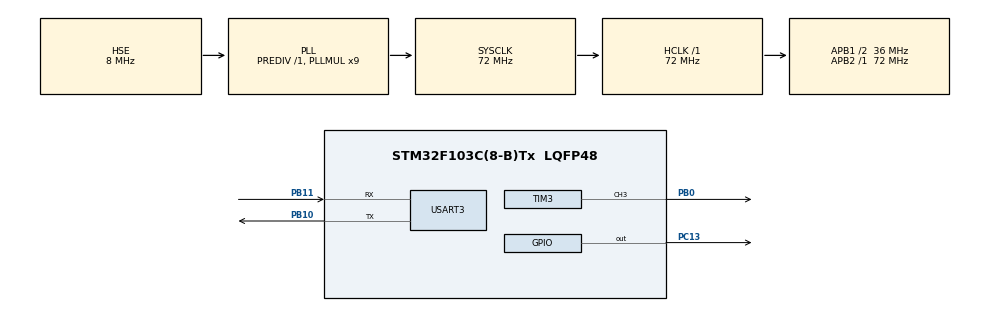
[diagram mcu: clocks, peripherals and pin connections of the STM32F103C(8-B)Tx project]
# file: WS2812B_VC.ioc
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Dma.Request0=TIM3_CH3
Dma.TIM3_CH3.0.Direction=DMA_MEMORY_TO_PERIPH
Dma.TIM3_CH3.0.Instance=DMA1_Channel2
Dma.TIM3_CH3.0.MemDataAlignment=DMA_MDATAALIGN_BYTE
Dma.TIM3_CH3.0.MemInc=DMA_MINC_ENABLE
Dma.TIM3_CH3.0.Mode=DMA_CIRCULAR
Dma.TIM3_CH3.0.PeriphDataAlignment=DMA_PDATAALIGN_HALFWORD
Dma.TIM3_CH3.0.PeriphInc=DMA_PINC_DISABLE
Dma.TIM3_CH3.0.Priority=DMA_PRIORITY_LOW
Mcu.Family=STM32F1
Mcu.Name=STM32F103C(8-B)Tx
Mcu.Package=LQFP48
Mcu.UserConstants=T_PERIOD,90;T0H,26;T1H,65;T_RESET,0
NVIC.DMA1_Channel2_IRQn=true\:0\:0\:false\:false\:true\:false
NVIC.PriorityGroup=NVIC_PRIORITYGROUP_4
NVIC.USART3_IRQn=true\:0\:0\:false\:false\:true\:true
PA13.Mode=Serial_Wire
PA13.Signal=SYS_JTMS-SWDIO
PA14.Mode=Serial_Wire
PA14.Signal=SYS_JTCK-SWCLK
PB0.GPIO_Speed=GPIO_SPEED_FREQ_HIGH
PB0.Signal=S_TIM3_CH3
PB10.Mode=Asynchronous
PB10.Signal=USART3_TX
PB11.Mode=Asynchronous
PB11.Signal=USART3_RX
PC13-TAMPER-RTC.PinState=GPIO_PIN_SET
PC13-TAMPER-RTC.Signal=GPIO_Output
PC14-OSC32_IN.Mode=LSE-External-Oscillator
PC14-OSC32_IN.Signal=RCC_OSC32_IN
PC15-OSC32_OUT.Mode=LSE-External-Oscillator
PC15-OSC32_OUT.Signal=RCC_OSC32_OUT
PD0-OSC_IN.Mode=HSE-External-Oscillator
PD0-OSC_IN.Signal=RCC_OSC_IN
PD1-OSC_OUT.Mode=HSE-External-Oscillator
PD1-OSC_OUT.Signal=RCC_OSC_OUT
ProjectManager.HeapSize=0x200
ProjectManager.StackSize=0x400
ProjectManager.TargetToolchain=SW4STM32
RCC.AHBFreq_Value=72000000
RCC.APB1CLKDivider=RCC_HCLK_DIV2
RCC.APB1Freq_Value=36000000
RCC.APB1TimFreq_Value=72000000
RCC.APB2Freq_Value=72000000
RCC.APB2TimFreq_Value=72000000
RCC.HCLKFreq_Value=72000000
RCC.PLLMUL=RCC_PLL_MUL9
RCC.PLLSourceVirtual=RCC_PLLSOURCE_HSE
RCC.SYSCLKFreq_VALUE=72000000
RCC.SYSCLKSource=RCC_SYSCLKSOURCE_PLLCLK
RCC.USBFreq_Value=72000000
SH.S_TIM3_CH3.0=TIM3_CH3,PWM Generation3 CH3
TIM3.Channel-PWM\ Generation3\ CH3=TIM_CHANNEL_3
TIM3.Period=T_PERIOD-1
USART3.VirtualMode=VM_ASYNC
board=custom

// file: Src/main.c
/* USER CODE BEGIN Header */
/**
  ******************************************************************************
  * @file           : main.c
  * @brief          : Main program body
  ******************************************************************************
  ** This notice applies to any and all portions of this file
  * that are not between comment pairs USER CODE BEGIN and
  * USER CODE END. Other portions of this file, whether
  * inserted by the user or by software development tools
  * are owned by their respective copyright owners.
  *
  * COPYRIGHT(c) 2018 STMicroelectronics
  *
  * Redistribution and use in source and binary forms, with or without modification,
  * are permitted provided that the following conditions are met:
  *   1. Redistributions of source code must retain the above copyright notice,
  *      this list of conditions and the following disclaimer.
  *   2. Redistributions in binary form must reproduce the above copyright notice,
  *      this list of conditions and the following disclaimer in the documentation
  *      and/or other materials provided with the distribution.
  *   3. Neither the name of STMicroelectronics nor the names of its contributors
  *      may be used to endorse or promote products derived from this software
  *      without specific prior written permission.
  *
  * THIS SOFTWARE IS PROVIDED BY THE COPYRIGHT HOLDERS AND CONTRIBUTORS "AS IS"
  * AND ANY EXPRESS OR IMPLIED WARRANTIES, INCLUDING, BUT NOT LIMITED TO, THE
  * IMPLIED WARRANTIES OF MERCHANTABILITY AND FITNESS FOR A PARTICULAR PURPOSE ARE
  * DISCLAIMED. IN NO EVENT SHALL THE COPYRIGHT HOLDER OR CONTRIBUTORS BE LIABLE
  * FOR ANY DIRECT, INDIRECT, INCIDENTAL, SPECIAL, EXEMPLARY, OR CONSEQUENTIAL
  * DAMAGES (INCLUDING, BUT NOT LIMITED TO, PROCUREMENT OF SUBSTITUTE GOODS OR
  * SERVICES; LOSS OF USE, DATA, OR PROFITS; OR BUSINESS INTERRUPTION) HOWEVER
  * CAUSED AND ON ANY THEORY OF LIABILITY, WHETHER IN CONTRACT, STRICT LIABILITY,
  * OR TORT (INCLUDING NEGLIGENCE OR OTHERWISE) ARISING IN ANY WAY OUT OF THE USE
  * OF THIS SOFTWARE, EVEN IF ADVISED OF THE POSSIBILITY OF SUCH DAMAGE.
  *
  ******************************************************************************
  */
/* USER CODE END Header */

#include "main.h"
#include "dma.h"
#include "tim.h"
#include "usart.h"
#include "gpio.h"

/* USER CODE BEGIN Includes */
#include "animations.h"
/* USER CODE END Includes */

/* USER CODE BEGIN PD */
#define WEB_ORDER_SZ	13
/* USER CODE END PD */

void SystemClock_Config(void);

/* USER CODE BEGIN 0 */
uint8_t mode = WEB_ORDER_SZ;
uint8_t uart_buff[4];
/* USER CODE END 0 */

int main(void)
{
  /* USER CODE BEGIN 1 */
  Animation_function sequences[10] = {
	Animation_MarbleTube,
	Animation_Dropdown,
	Animation_RunningLed2,
	Animation_Pulse,
	Animation_Rainbow,
	Animation_DoubleTrain,
	ClearFrame,
	Animation_Snake,
	Animation_Stars,
	Animation_RoundDance
  };

  Animation_function web_order[] = {
	ClearFrame,
	Animation_RunningLed,
	Animation_RunningLed2,
	Animation_Pulse,
	Animation_RunningLine,
	Animation_Train,
	Animation_DoubleTrain,
	Animation_Rainbow,
	Animation_Snake,
	Animation_RoundDance,
	Animation_MarbleTube,
	Animation_Dropdown,
	Animation_Stars,
  };

  /* USER CODE END 1 */

  /* MCU Configuration--------------------------------------------------------*/

  /* Reset of all peripherals, Initializes the Flash interface and the Systick. */
  HAL_Init();

  /* Configure the system clock */
  SystemClock_Config();

  /* Initialize all configured peripherals */
  MX_GPIO_Init();
  MX_DMA_Init();
  MX_TIM3_Init();
  MX_USART3_UART_Init();
  /* USER CODE BEGIN 2 */
  InitBuffers2812B();
  HAL_TIM_PWM_Start_DMA(&htim3, TIM_CHANNEL_3, (uint32_t *)g_dma_double_buffer, DMA_BUFF_LENGTH);

  /* USER CODE END 2 */

  /* Infinite loop */
  /* USER CODE BEGIN WHILE */
  uint8_t i = 0;
  uint8_t last_mode = WEB_ORDER_SZ;
  SetAnimation(sequences[i]);

  while (1)
  {
    CalcNextFrame();
    if (last_mode != mode)
    {
    	last_mode = mode;
    	if (last_mode < WEB_ORDER_SZ) {
    		SetAnimation(web_order[last_mode]);
    	}
    }
    else if (last_mode == WEB_ORDER_SZ)
    {
    	if (isAnimationComplete())
    	{
    	   	i++;
    	   	if (i > 9)
    	   	{
    	   		i = 0;
    	   	}
    	 	SetAnimation(sequences[i]);
    	}
    }

    HAL_UART_Receive_IT(&huart3, uart_buff, 4);
    /* USER CODE END WHILE */

  }
}

void SystemClock_Config(void)
{
  RCC_OscInitTypeDef RCC_OscInitStruct = {0};
  RCC_ClkInitTypeDef RCC_ClkInitStruct = {0};

  /**Initializes the CPU, AHB and APB busses clocks
  */
  RCC_OscInitStruct.OscillatorType = RCC_OSCILLATORTYPE_HSE;
  RCC_OscInitStruct.HSEState = RCC_HSE_ON;
  RCC_OscInitStruct.HSEPredivValue = RCC_HSE_PREDIV_DIV1;
  RCC_OscInitStruct.HSIState = RCC_HSI_ON;
  RCC_OscInitStruct.PLL.PLLState = RCC_PLL_ON;
  RCC_OscInitStruct.PLL.PLLSource = RCC_PLLSOURCE_HSE;
  RCC_OscInitStruct.PLL.PLLMUL = RCC_PLL_MUL9;
  if (HAL_RCC_OscConfig(&RCC_OscInitStruct) != HAL_OK)
  {
    Error_Handler();
  }
  /**Initializes the CPU, AHB and APB busses clocks
  */
  RCC_ClkInitStruct.ClockType = RCC_CLOCKTYPE_HCLK|RCC_CLOCKTYPE_SYSCLK
                              |RCC_CLOCKTYPE_PCLK1|RCC_CLOCKTYPE_PCLK2;
  RCC_ClkInitStruct.SYSCLKSource = RCC_SYSCLKSOURCE_PLLCLK;
  RCC_ClkInitStruct.AHBCLKDivider = RCC_SYSCLK_DIV1;
  RCC_ClkInitStruct.APB1CLKDivider = RCC_HCLK_DIV2;
  RCC_ClkInitStruct.APB2CLKDivider = RCC_HCLK_DIV1;

  if (HAL_RCC_ClockConfig(&RCC_ClkInitStruct, FLASH_LATENCY_2) != HAL_OK)
  {
    Error_Handler();
  }
}

/* USER CODE BEGIN 4 */
void HAL_UART_RxCpltCallback(UART_HandleTypeDef *huart)
{
	if (uart_buff[0] == 0xaa)
	{
		HAL_GPIO_TogglePin(GPIOC, GPIO_PIN_13);
		mode = uart_buff[1];
		if (mode > WEB_ORDER_SZ)
		{
			mode = WEB_ORDER_SZ;
		}
		// продолжаем только если пакет принят правильно.
		HAL_UART_Receive_IT(&huart3, uart_buff, 4);
	}
}
/* USER CODE END 4 */

void Error_Handler(void)
{
}

/************************ (C) COPYRIGHT STMicroelectronics *****END OF FILE****/
